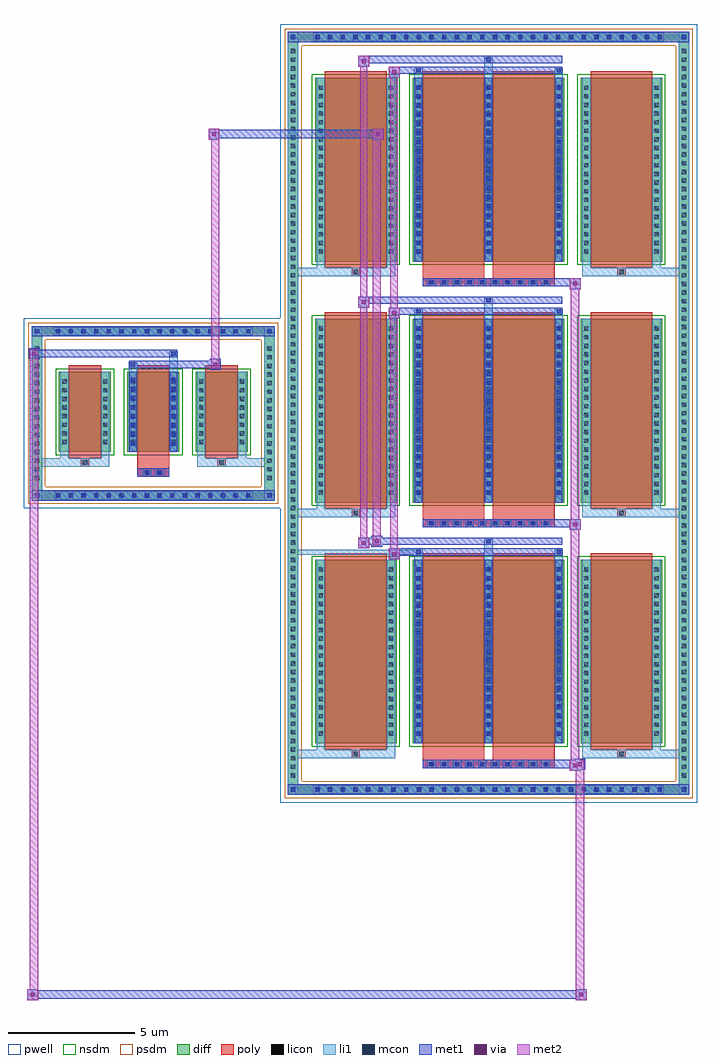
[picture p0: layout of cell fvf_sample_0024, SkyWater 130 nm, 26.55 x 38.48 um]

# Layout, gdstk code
import gdstk
lib = gdstk.Library(unit=1e-6, precision=1e-09)
def R(c, l, rs):  # rectangles x0, y0, x1, y1
    for r in rs: c.add(gdstk.rectangle(r[:2], r[2:], *l))
def A(c, l, x, y, w, h, nx, ny, dx, dy):  # array of equal rectangles
    R(c, l, [(x+i*dx, y+j*dy, x+i*dx+w, y+j*dy+h) for i in range(nx) for j in range(ny)])
def P(c, l, *ps):  # polygons
    for p in ps: c.add(gdstk.Polygon(p, *l))
pwell = (64, 44)
diff = (65, 20)
poly = (66, 20)
licon = (66, 44)
li1 = (67, 20)
mcon = (67, 44)
met1 = (68, 20)
via = (68, 44)
met2 = (69, 20)
nsdm = (93, 44)
psdm = (94, 20)

fvf_sample_0024 = lib.new_cell('fvf_sample_0024')
R(fvf_sample_0024, pwell, [(5.001,-15.35,21.447,15.35), (-5.101,-3.751,5.101,3.751)])
A(fvf_sample_0024, diff, 6.269, -15.04, 0.41, 0.41, 28, 2, 0.5, 29.67)
A(fvf_sample_0024, diff, 5.311, -14.485, 0.41, 0.41, 1, 85, 0, 0.34)
A(fvf_sample_0024, diff, 20.727, -14.485, 0.41, 0.41, 1, 85, 0, 0.34)
A(fvf_sample_0024, diff, 6.381, -13.019, 3.214, 7.254, 1, 3, 0, 9.5)
A(fvf_sample_0024, diff, 10.235, -13.019, 5.978, 7.254, 1, 3, 0, 9.5)
A(fvf_sample_0024, diff, 16.853, -13.019, 3.214, 7.254, 1, 3, 0, 9.5)
A(fvf_sample_0024, diff, -3.955, -3.441, 0.41, 0.41, 16, 2, 0.5, 6.472)
A(fvf_sample_0024, diff, -4.791, -2.755, 0.41, 0.41, 1, 16, 0, 0.34)
A(fvf_sample_0024, diff, 4.381, -2.755, 0.41, 0.41, 1, 16, 0, 0.34)
A(fvf_sample_0024, diff, -3.721, -1.52, 2.054, 3.156, 3, 1, 2.694, 0)
R(fvf_sample_0024, diff, [(6.269,-15.04,20.179,-14.63), (5.311,-14.485,5.721,14.485), (20.727,-14.485,21.137,14.485), (-3.955,-3.441,3.955,-3.031), (-4.791,-2.755,-4.381,2.755), (4.381,-2.755,4.791,2.755), (-3.955,3.031,3.955,3.441), (6.269,14.63,20.179,15.04)])
P(fvf_sample_0024, diff, [(4.791,3.441),(-4.791,3.441),(-4.791,-3.031),(-4.381,-3.031),(-4.381,3.031),(4.381,3.031),(4.381,-3.031),(-4.381,-3.031),(-4.791,-3.031),(-4.791,-3.441),(4.791,-3.441)],
  [(21.137,15.04),(5.311,15.04),(5.311,-14.63),(5.721,-14.63),(5.721,14.63),(20.727,14.63),(20.727,-14.63),(5.721,-14.63),(5.311,-14.63),(5.311,-15.04),(21.137,-15.04)])
A(fvf_sample_0024, poly, 10.625, -14, 5.198, 0.33, 1, 3, 0, 9.5)
A(fvf_sample_0024, poly, 10.809, -14, 0.33, 0.33, 10, 3, 0.5, 9.5)
A(fvf_sample_0024, poly, 10.625, -13.67, 2.434, 0.401, 1, 3, 0, 9.5)
A(fvf_sample_0024, poly, 13.389, -13.67, 2.434, 0.401, 1, 3, 0, 9.5)
A(fvf_sample_0024, poly, 6.771, -13.269, 2.434, 7.754, 1, 3, 0, 9.5)
A(fvf_sample_0024, poly, 10.625, -13.269, 2.434, 7.754, 1, 3, 0, 9.5)
A(fvf_sample_0024, poly, 13.389, -13.269, 2.434, 7.754, 1, 3, 0, 9.5)
A(fvf_sample_0024, poly, 17.243, -13.269, 2.434, 7.754, 1, 3, 0, 9.5)
A(fvf_sample_0024, poly, -3.331, -1.77, 1.274, 3.656, 3, 1, 2.694, 0)
R(fvf_sample_0024, poly, [(7.823,-13.599,8.153,-13.269), (7.823,-13.599,8.153,-13.269), (18.295,-13.599,18.625,-13.269), (18.295,-13.599,18.625,-13.269), (7.823,-4.099,8.153,-3.769), (7.823,-4.099,8.153,-3.769), (18.295,-4.099,18.625,-3.769), (18.295,-4.099,18.625,-3.769), (-0.637,-2.5,0.637,-2.17), (-0.415,-2.5,-0.085,-2.17), (0.085,-2.5,0.415,-2.17), (-0.637,-2.17,0.637,-1.77), (-2.859,-2.1,-2.529,-1.77), (-2.859,-2.1,-2.529,-1.77), (2.529,-2.1,2.859,-1.77), (2.529,-2.1,2.859,-1.77), (7.823,5.401,8.153,5.731), (7.823,5.401,8.153,5.731), (18.295,5.401,18.625,5.731), (18.295,5.401,18.625,5.731)])
A(fvf_sample_0024, licon, 6.389, -14.92, 0.17, 0.17, 28, 2, 0.5, 29.67)
A(fvf_sample_0024, licon, 5.431, -14.365, 0.17, 0.17, 1, 85, 0, 0.34)
A(fvf_sample_0024, licon, 20.847, -14.365, 0.17, 0.17, 1, 85, 0, 0.34)
A(fvf_sample_0024, licon, 10.889, -13.92, 0.17, 0.17, 10, 3, 0.5, 9.5)
A(fvf_sample_0024, licon, 7.903, -13.519, 0.17, 0.17, 1, 3, 0, 9.5)
A(fvf_sample_0024, licon, 18.375, -13.519, 0.17, 0.17, 1, 3, 0, 9.5)
A(fvf_sample_0024, licon, 6.521, -12.707, 0.17, 0.17, 1, 20, 0, 0.34)
A(fvf_sample_0024, licon, 9.285, -12.707, 0.17, 0.17, 1, 20, 0, 0.34)
A(fvf_sample_0024, licon, 10.375, -12.707, 0.17, 0.17, 3, 20, 2.764, 0.34)
A(fvf_sample_0024, licon, 16.993, -12.707, 0.17, 0.17, 1, 20, 0, 0.34)
A(fvf_sample_0024, licon, 19.757, -12.707, 0.17, 0.17, 1, 20, 0, 0.34)
A(fvf_sample_0024, licon, -3.835, -3.321, 0.17, 0.17, 16, 2, 0.5, 6.472)
A(fvf_sample_0024, licon, 6.521, -3.207, 0.17, 0.17, 1, 20, 0, 0.34)
A(fvf_sample_0024, licon, 9.285, -3.207, 0.17, 0.17, 1, 20, 0, 0.34)
A(fvf_sample_0024, licon, 10.375, -3.207, 0.17, 0.17, 3, 20, 2.764, 0.34)
A(fvf_sample_0024, licon, 16.993, -3.207, 0.17, 0.17, 1, 20, 0, 0.34)
A(fvf_sample_0024, licon, 19.757, -3.207, 0.17, 0.17, 1, 20, 0, 0.34)
A(fvf_sample_0024, licon, -4.671, -2.635, 0.17, 0.17, 1, 16, 0, 0.34)
A(fvf_sample_0024, licon, 4.501, -2.635, 0.17, 0.17, 1, 16, 0, 0.34)
A(fvf_sample_0024, licon, -3.581, -1.217, 0.17, 0.17, 1, 8, 0, 0.34)
A(fvf_sample_0024, licon, -1.977, -1.217, 0.17, 0.17, 1, 8, 0, 0.34)
A(fvf_sample_0024, licon, -0.887, -1.217, 0.17, 0.17, 1, 8, 0, 0.34)
A(fvf_sample_0024, licon, 0.717, -1.217, 0.17, 0.17, 1, 8, 0, 0.34)
A(fvf_sample_0024, licon, 1.807, -1.217, 0.17, 0.17, 1, 8, 0, 0.34)
A(fvf_sample_0024, licon, 3.411, -1.217, 0.17, 0.17, 1, 8, 0, 0.34)
A(fvf_sample_0024, licon, 6.521, 6.293, 0.17, 0.17, 1, 20, 0, 0.34)
A(fvf_sample_0024, licon, 9.285, 6.293, 0.17, 0.17, 1, 20, 0, 0.34)
A(fvf_sample_0024, licon, 10.375, 6.293, 0.17, 0.17, 3, 20, 2.764, 0.34)
A(fvf_sample_0024, licon, 16.993, 6.293, 0.17, 0.17, 1, 20, 0, 0.34)
A(fvf_sample_0024, licon, 19.757, 6.293, 0.17, 0.17, 1, 20, 0, 0.34)
R(fvf_sample_0024, licon, [(-0.335,-2.42,-0.165,-2.25), (0.165,-2.42,0.335,-2.25), (-2.779,-2.02,-2.609,-1.85), (2.609,-2.02,2.779,-1.85)])
A(fvf_sample_0024, li1, 6.309, -15, 0.33, 0.33, 28, 2, 0.5, 29.67)
A(fvf_sample_0024, li1, 5.351, -14.445, 0.33, 0.33, 1, 85, 0, 0.34)
A(fvf_sample_0024, li1, 20.767, -14.445, 0.33, 0.33, 1, 85, 0, 0.34)
A(fvf_sample_0024, li1, 10.809, -14, 0.33, 0.33, 10, 3, 0.5, 9.5)
A(fvf_sample_0024, li1, 5.311, -13.599, 2.512, 0.33, 1, 3, 0, 9.5)
A(fvf_sample_0024, li1, 6.441, -13.599, 0.33, 0.58, 1, 3, 0, 9.5)
A(fvf_sample_0024, li1, 6.441, -13.599, 1.382, 0.33, 1, 3, 0, 9.5)
A(fvf_sample_0024, li1, 7.823, -13.599, 0.33, 0.33, 1, 3, 0, 9.5)
A(fvf_sample_0024, li1, 8.153, -13.599, 1.382, 0.33, 1, 3, 0, 9.5)
A(fvf_sample_0024, li1, 9.205, -13.599, 0.33, 0.58, 1, 3, 0, 9.5)
A(fvf_sample_0024, li1, 16.913, -13.599, 0.33, 0.58, 1, 3, 0, 9.5)
A(fvf_sample_0024, li1, 16.913, -13.599, 1.382, 0.33, 1, 3, 0, 9.5)
A(fvf_sample_0024, li1, 18.295, -13.599, 0.33, 0.33, 1, 3, 0, 9.5)
A(fvf_sample_0024, li1, 18.295, -13.599, 2.842, 0.33, 1, 3, 0, 9.5)
A(fvf_sample_0024, li1, 18.625, -13.599, 1.382, 0.33, 1, 3, 0, 9.5)
A(fvf_sample_0024, li1, 19.677, -13.599, 0.33, 0.58, 1, 3, 0, 9.5)
A(fvf_sample_0024, li1, 6.441, -13.019, 0.33, 7.254, 1, 3, 0, 9.5)
A(fvf_sample_0024, li1, 9.205, -13.019, 0.33, 7.254, 1, 3, 0, 9.5)
A(fvf_sample_0024, li1, 10.295, -13.019, 0.33, 7.254, 3, 3, 2.764, 9.5)
A(fvf_sample_0024, li1, 16.913, -13.019, 0.33, 7.254, 1, 3, 0, 9.5)
A(fvf_sample_0024, li1, 19.677, -13.019, 0.33, 7.254, 1, 3, 0, 9.5)
A(fvf_sample_0024, li1, 6.441, -12.787, 0.33, 0.33, 1, 20, 0, 0.34)
A(fvf_sample_0024, li1, 9.205, -12.787, 0.33, 0.33, 1, 20, 0, 0.34)
A(fvf_sample_0024, li1, 10.295, -12.787, 0.33, 0.33, 3, 20, 2.764, 0.34)
A(fvf_sample_0024, li1, 16.913, -12.787, 0.33, 0.33, 1, 20, 0, 0.34)
A(fvf_sample_0024, li1, 19.677, -12.787, 0.33, 0.33, 1, 20, 0, 0.34)
A(fvf_sample_0024, li1, 10.375, -12.717, 0.17, 0.17, 3, 19, 2.764, 0.36)
A(fvf_sample_0024, li1, 10.375, -12.717, 0.17, 6.65, 3, 3, 2.764, 9.5)
A(fvf_sample_0024, li1, 10.295, -5.765, 0.33, 0.375, 1, 3, 0, 9.5)
A(fvf_sample_0024, li1, 13.059, -5.765, 0.33, 0.805, 1, 3, 0, 9.5)
A(fvf_sample_0024, li1, 15.823, -5.765, 0.33, 0.375, 1, 3, 0, 9.5)
A(fvf_sample_0024, li1, 10.375, -5.56, 0.17, 0.17, 1, 3, 0, 9.5)
A(fvf_sample_0024, li1, 15.903, -5.56, 0.17, 0.17, 1, 3, 0, 9.5)
A(fvf_sample_0024, li1, 13.139, -5.13, 0.17, 0.17, 1, 3, 0, 9.5)
A(fvf_sample_0024, li1, -3.915, -3.401, 0.33, 0.33, 16, 2, 0.5, 6.472)
A(fvf_sample_0024, li1, 6.441, -3.287, 0.33, 0.33, 1, 20, 0, 0.34)
A(fvf_sample_0024, li1, 9.205, -3.287, 0.33, 0.33, 1, 20, 0, 0.34)
A(fvf_sample_0024, li1, 10.295, -3.287, 0.33, 0.33, 3, 20, 2.764, 0.34)
A(fvf_sample_0024, li1, 16.913, -3.287, 0.33, 0.33, 1, 20, 0, 0.34)
A(fvf_sample_0024, li1, 19.677, -3.287, 0.33, 0.33, 1, 20, 0, 0.34)
A(fvf_sample_0024, li1, 10.375, -3.217, 0.17, 0.17, 3, 19, 2.764, 0.36)
A(fvf_sample_0024, li1, -4.751, -2.715, 0.33, 0.33, 1, 16, 0, 0.34)
A(fvf_sample_0024, li1, 4.421, -2.715, 0.33, 0.33, 1, 16, 0, 0.34)
A(fvf_sample_0024, li1, -3.661, -1.297, 0.33, 0.33, 1, 8, 0, 0.34)
A(fvf_sample_0024, li1, -2.057, -1.297, 0.33, 0.33, 1, 8, 0, 0.34)
A(fvf_sample_0024, li1, -0.967, -1.297, 0.33, 0.33, 1, 8, 0, 0.34)
A(fvf_sample_0024, li1, 0.637, -1.297, 0.33, 0.33, 1, 8, 0, 0.34)
A(fvf_sample_0024, li1, 1.727, -1.297, 0.33, 0.33, 1, 8, 0, 0.34)
A(fvf_sample_0024, li1, 3.331, -1.297, 0.33, 0.33, 1, 8, 0, 0.34)
A(fvf_sample_0024, li1, -0.887, -1.287, 0.17, 0.17, 1, 8, 0, 0.36)
A(fvf_sample_0024, li1, 0.717, -1.287, 0.17, 0.17, 1, 8, 0, 0.36)
A(fvf_sample_0024, li1, 6.441, 6.213, 0.33, 0.33, 1, 20, 0, 0.34)
A(fvf_sample_0024, li1, 9.205, 6.213, 0.33, 0.33, 1, 20, 0, 0.34)
A(fvf_sample_0024, li1, 10.295, 6.213, 0.33, 0.33, 3, 20, 2.764, 0.34)
A(fvf_sample_0024, li1, 16.913, 6.213, 0.33, 0.33, 1, 20, 0, 0.34)
A(fvf_sample_0024, li1, 19.677, 6.213, 0.33, 0.33, 1, 20, 0, 0.34)
A(fvf_sample_0024, li1, 10.375, 6.283, 0.17, 0.17, 3, 19, 2.764, 0.36)
R(fvf_sample_0024, li1, [(5.311,-15.04,5.721,-14.63), (20.727,-15.04,21.137,-14.63), (6.309,-15,20.139,-14.67), (5.431,-14.92,5.601,-14.75), (5.431,-14.92,5.601,-14.75), (20.847,-14.92,21.017,-14.75), (20.847,-14.92,21.017,-14.75), (5.311,-14.63,5.721,14.63), (20.727,-14.63,21.137,14.63), (10.315,-5.62,10.605,-5.33), (5.311,-5.575,10.315,-5.375), (10.375,-5.56,10.545,-5.39), (-4.791,-3.441,-4.381,-3.031), (4.381,-3.441,4.791,-3.031), (-3.915,-3.401,3.915,-3.071), (-4.671,-3.321,-4.501,-3.151), (-4.671,-3.321,-4.501,-3.151), (4.501,-3.321,4.671,-3.151), (4.501,-3.321,4.671,-3.151), (-4.791,-3.031,-4.381,3.031), (4.381,-3.031,4.791,3.031), (-0.415,-2.5,-0.085,-2.17), (0.085,-2.5,0.415,-2.17), (-4.791,-2.1,-2.859,-1.77), (-3.661,-2.1,-2.859,-1.77), (-3.661,-2.1,-3.331,-1.52), (-2.859,-2.1,-2.529,-1.77), (-2.529,-2.1,-1.727,-1.77), (-2.057,-2.1,-1.727,-1.52), (1.727,-2.1,2.529,-1.77), (1.727,-2.1,2.057,-1.52), (2.529,-2.1,2.859,-1.77), (2.529,-2.1,4.791,-1.77), (2.859,-2.1,3.661,-1.77), (3.331,-2.1,3.661,-1.52), (-3.661,-1.52,-3.331,1.636), (-2.057,-1.52,-1.727,1.636), (-0.967,-1.52,-0.637,1.636), (0.637,-1.52,0.967,1.636), (1.727,-1.52,2.057,1.636), (3.331,-1.52,3.661,1.636), (-0.887,-1.287,-0.717,1.403), (0.717,-1.287,0.887,1.403), (-0.967,1.636,-0.637,2.011), (0.637,1.636,0.967,2.441), (-0.887,1.841,-0.717,2.011), (0.717,2.271,0.887,2.441), (-4.791,3.031,-4.381,3.441), (4.381,3.031,4.791,3.441), (-3.915,3.071,3.915,3.401), (-4.671,3.151,-4.501,3.321), (-4.671,3.151,-4.501,3.321), (4.501,3.151,4.671,3.321), (4.501,3.151,4.671,3.321), (5.311,14.63,5.721,15.04), (20.727,14.63,21.137,15.04), (6.309,14.67,20.139,15), (5.431,14.75,5.601,14.92), (5.431,14.75,5.601,14.92), (20.847,14.75,21.017,14.92), (20.847,14.75,21.017,14.92)])
A(fvf_sample_0024, mcon, 6.389, -14.92, 0.17, 0.17, 28, 2, 0.5, 29.67)
A(fvf_sample_0024, mcon, 10.889, -13.92, 0.17, 0.17, 10, 3, 0.5, 9.5)
A(fvf_sample_0024, mcon, 10.375, -12.717, 0.17, 0.17, 3, 19, 2.764, 0.36)
A(fvf_sample_0024, mcon, 10.375, -5.56, 0.17, 0.17, 1, 3, 0, 9.5)
A(fvf_sample_0024, mcon, 15.903, -5.56, 0.17, 0.17, 1, 3, 0, 9.5)
A(fvf_sample_0024, mcon, 13.139, -5.13, 0.17, 0.17, 1, 3, 0, 9.5)
A(fvf_sample_0024, mcon, -3.835, -3.321, 0.17, 0.17, 16, 2, 0.5, 6.472)
A(fvf_sample_0024, mcon, 10.375, -3.217, 0.17, 0.17, 3, 19, 2.764, 0.36)
A(fvf_sample_0024, mcon, -0.887, -1.287, 0.17, 0.17, 1, 8, 0, 0.36)
A(fvf_sample_0024, mcon, 0.717, -1.287, 0.17, 0.17, 1, 8, 0, 0.36)
A(fvf_sample_0024, mcon, 10.375, 6.283, 0.17, 0.17, 3, 19, 2.764, 0.36)
R(fvf_sample_0024, mcon, [(5.431,-14.92,5.601,-14.75), (20.847,-14.92,21.017,-14.75), (10.375,-5.56,10.545,-5.39), (-4.671,-3.321,-4.501,-3.151), (4.501,-3.321,4.671,-3.151), (-0.335,-2.42,-0.165,-2.25), (0.165,-2.42,0.335,-2.25), (-0.887,1.841,-0.717,2.011), (0.717,2.271,0.887,2.441), (-4.671,3.151,-4.501,3.321), (4.501,3.151,4.671,3.321), (5.431,14.75,5.601,14.92), (20.847,14.75,21.017,14.92)])
A(fvf_sample_0024, met1, 6.329, -14.98, 0.29, 0.29, 28, 2, 0.5, 29.67)
A(fvf_sample_0024, met1, 10.625, -14, 5.198, 0.33, 1, 3, 0, 9.5)
A(fvf_sample_0024, met1, 10.829, -13.98, 0.29, 0.29, 10, 3, 0.5, 9.5)
A(fvf_sample_0024, met1, 10.315, -13.019, 0.29, 7.254, 3, 3, 2.764, 9.5)
A(fvf_sample_0024, met1, 10.315, -12.777, 0.29, 0.29, 3, 19, 2.764, 0.36)
A(fvf_sample_0024, met1, 10.315, -5.62, 0.29, 0.29, 1, 3, 0, 9.5)
A(fvf_sample_0024, met1, 15.843, -5.62, 0.29, 0.29, 1, 3, 0, 9.5)
A(fvf_sample_0024, met1, 13.079, -5.19, 0.29, 0.29, 1, 3, 0, 9.5)
A(fvf_sample_0024, met1, -3.895, -3.381, 0.29, 0.29, 16, 2, 0.5, 6.472)
A(fvf_sample_0024, met1, 10.315, -3.277, 0.29, 0.29, 3, 19, 2.764, 0.36)
A(fvf_sample_0024, met1, -0.947, -1.347, 0.29, 0.29, 1, 8, 0, 0.36)
A(fvf_sample_0024, met1, 0.657, -1.347, 0.29, 0.29, 1, 8, 0, 0.36)
A(fvf_sample_0024, met1, 10.315, 6.223, 0.29, 0.29, 3, 19, 2.764, 0.36)
R(fvf_sample_0024, met1, [(-4.963,-23.134,-4.533,-22.704), (16.658,-23.134,17.088,-22.704), (-4.963,-23.084,17.088,-22.754), (-4.963,-22.754,-4.533,-22.704), (16.658,-22.754,17.088,-22.704), (5.311,-15.04,5.721,-14.63), (5.311,-15.04,5.721,-14.63), (5.721,-15.04,20.727,-14.63), (20.727,-15.04,21.137,-14.63), (20.727,-15.04,21.137,-14.63), (5.371,-14.98,5.661,-14.69), (20.787,-14.98,21.077,-14.69), (16.423,-14.1,16.853,-13.67), (16.608,-14.05,17.038,-13.62), (15.823,-14,16.608,-13.67), (15.823,-14,16.853,-13.67), (9.285,-5.76,9.715,-5.33), (9.285,-5.62,10.315,-5.33), (10.315,-5.62,10.605,-5.33), (10.315,-5.62,16.133,-5.33), (8.085,-5.33,8.515,-4.9), (8.6,-5.26,9.03,-4.83), (8.085,-5.19,10.315,-4.9), (9.03,-5.19,10.315,-4.9), (10.315,-5.19,16.133,-4.9), (16.423,-4.6,16.853,-4.17), (16.423,-4.6,16.853,-4.17), (15.823,-4.5,16.853,-4.17), (15.823,-4.5,16.853,-4.17), (-4.791,-3.441,-4.381,-3.031), (-4.791,-3.441,-4.381,-3.031), (-4.381,-3.441,4.381,-3.031), (4.381,-3.441,4.791,-3.031), (4.381,-3.441,4.791,-3.031), (-4.731,-3.381,-4.441,-3.091), (4.441,-3.381,4.731,-3.091), (-0.637,-2.5,0.637,-2.17), (-0.395,-2.48,-0.105,-2.19), (0.105,-2.48,0.395,-2.19), (-0.947,-1.52,-0.657,1.636), (0.657,-1.52,0.947,1.636), (2.232,1.711,2.662,2.141), (-0.947,1.781,-0.657,2.071), (-0.947,1.781,0.947,2.071), (0.947,1.781,2.232,2.071), (-4.913,2.141,-4.483,2.571), (-4.483,2.211,-0.947,2.501), (-0.947,2.211,0.947,2.501), (0.657,2.211,0.947,2.501), (-4.791,3.031,-4.381,3.441), (-4.791,3.031,-4.381,3.441), (-4.381,3.031,4.381,3.441), (4.381,3.031,4.791,3.441), (4.381,3.031,4.791,3.441), (-4.731,3.091,-4.441,3.381), (4.441,3.091,4.731,3.381), (9.285,3.74,9.715,4.17), (9.285,3.74,9.715,4.17), (9.285,3.88,10.315,4.17), (9.285,3.88,10.315,4.17), (10.315,3.88,16.133,4.17), (8.085,4.17,8.515,4.6), (8.085,4.17,8.515,4.6), (8.085,4.31,10.315,4.6), (8.085,4.31,10.315,4.6), (10.315,4.31,16.133,4.6), (16.423,4.9,16.853,5.33), (15.823,5,16.853,5.33), (2.182,10.795,2.612,11.225), (8.65,10.795,9.08,11.225), (2.182,10.845,9.08,11.175), (2.182,11.175,2.612,11.225), (8.65,11.175,9.08,11.225), (9.285,13.24,9.715,13.67), (9.285,13.38,10.315,13.67), (10.315,13.38,16.133,13.67), (8.085,13.67,8.515,14.1), (8.085,13.81,10.315,14.1), (10.315,13.81,16.133,14.1), (5.311,14.63,5.721,15.04), (5.311,14.63,5.721,15.04), (5.721,14.63,20.727,15.04), (20.727,14.63,21.137,15.04), (20.727,14.63,21.137,15.04), (5.371,14.69,5.661,14.98), (20.787,14.69,21.077,14.98)])
R(fvf_sample_0024, via, [(-4.823,-22.994,-4.673,-22.844), (16.798,-22.994,16.948,-22.844), (16.563,-13.96,16.713,-13.81), (16.748,-13.91,16.898,-13.76), (9.425,-5.62,9.575,-5.47), (8.225,-5.19,8.375,-5.04), (8.74,-5.12,8.89,-4.97), (16.563,-4.46,16.713,-4.31), (16.563,-4.46,16.713,-4.31), (2.372,1.851,2.522,2.001), (-4.773,2.281,-4.623,2.431), (9.425,3.88,9.575,4.03), (9.425,3.88,9.575,4.03), (8.225,4.31,8.375,4.46), (8.225,4.31,8.375,4.46), (16.563,5.04,16.713,5.19), (2.322,10.935,2.472,11.085), (8.79,10.935,8.94,11.085), (9.425,13.38,9.575,13.53), (8.225,13.81,8.375,13.96)])
R(fvf_sample_0024, met2, [(-4.963,-23.134,-4.533,-22.704), (-4.863,-23.134,-4.533,2.191), (16.658,-23.134,17.088,-22.704), (16.658,-23.134,16.988,-14), (-4.913,-23.084,-4.583,-22.754), (16.708,-23.084,17.038,-22.754), (16.423,-14.1,16.853,-13.67), (16.473,-14.1,16.803,-4.17), (16.803,-14.1,16.853,-13.67), (16.473,-14.05,16.803,-13.72), (16.658,-14,16.988,-13.67), (9.285,-5.76,9.715,-5.33), (9.355,-5.76,9.645,4.17), (9.645,-5.76,9.715,-5.33), (9.335,-5.71,9.665,-5.38), (8.085,-5.33,8.515,-4.9), (8.155,-5.33,8.445,4.6), (8.445,-5.33,8.515,-4.9), (8.135,-5.28,8.465,-4.95), (8.65,-5.21,8.98,-4.88), (8.65,-4.88,8.98,11.225), (16.423,-4.6,16.853,-4.17), (16.423,-4.6,16.853,-4.17), (16.473,-4.6,16.803,5.33), (16.803,-4.6,16.853,-4.17), (16.803,-4.6,16.853,-4.17), (16.473,-4.55,16.803,-4.22), (16.473,-4.55,16.803,-4.22), (2.282,1.761,2.612,2.091), (2.282,2.091,2.612,11.225), (-4.863,2.191,-4.533,2.521), (9.285,3.74,9.715,4.17), (9.285,3.74,9.715,4.17), (9.355,3.74,9.645,13.67), (9.645,3.74,9.715,4.17), (9.645,3.74,9.715,4.17), (9.335,3.79,9.665,4.12), (9.335,3.79,9.665,4.12), (8.085,4.17,8.515,4.6), (8.085,4.17,8.515,4.6), (8.155,4.17,8.445,14.1), (8.445,4.17,8.515,4.6), (8.445,4.17,8.515,4.6), (8.135,4.22,8.465,4.55), (8.135,4.22,8.465,4.55), (16.423,4.9,16.853,5.33), (16.803,4.9,16.853,5.33), (16.473,4.95,16.803,5.28), (2.182,10.795,2.612,11.225), (8.65,10.795,9.08,11.225), (2.232,10.845,2.562,11.175), (8.7,10.845,9.03,11.175), (9.285,13.24,9.715,13.67), (9.645,13.24,9.715,13.67), (9.335,13.29,9.665,13.62), (8.085,13.67,8.515,14.1), (8.445,13.67,8.515,14.1), (8.135,13.72,8.465,14.05)])
A(fvf_sample_0024, nsdm, 6.251, -13.149, 3.474, 7.514, 1, 3, 0, 9.5)
A(fvf_sample_0024, nsdm, 10.105, -13.149, 6.238, 7.514, 1, 3, 0, 9.5)
A(fvf_sample_0024, nsdm, 16.723, -13.149, 3.474, 7.514, 1, 3, 0, 9.5)
A(fvf_sample_0024, nsdm, -3.851, -1.65, 2.314, 3.416, 3, 1, 2.694, 0)
P(fvf_sample_0024, psdm, [(4.921,3.571),(-4.921,3.571),(-4.921,-2.901),(-4.251,-2.901),(-4.251,2.901),(4.251,2.901),(4.251,-2.901),(-4.251,-2.901),(-4.921,-2.901),(-4.921,-3.571),(4.921,-3.571)],
  [(21.267,15.17),(5.181,15.17),(5.181,-14.5),(5.851,-14.5),(5.851,14.5),(20.597,14.5),(20.597,-14.5),(5.851,-14.5),(5.181,-14.5),(5.181,-15.17),(21.267,-15.17)])

lib.write_gds('fvf_sample_0024.gds')
